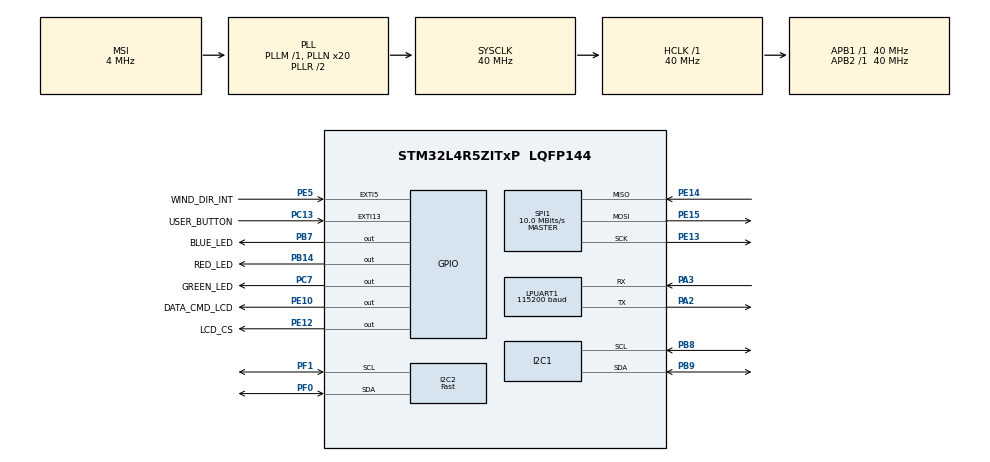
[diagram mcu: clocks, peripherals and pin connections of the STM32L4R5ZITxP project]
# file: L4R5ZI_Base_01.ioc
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I2C1.Timing=0x00909BEB
I2C2.I2C_Speed_Mode=I2C_Fast
I2C2.NoStretchMode=I2C_NOSTRETCH_ENABLE
I2C2.Speed=10
I2C2.Timing=0x7000F2FF
LPUART1.BaudRate=115200
Mcu.Family=STM32L4
Mcu.Name=STM32L4R5ZITxP
Mcu.Package=LQFP144
NVIC.EXTI15_10_IRQn=true\:0\:0\:false\:false\:true\:true\:true
NVIC.EXTI9_5_IRQn=true\:0\:0\:false\:false\:true\:true\:true
NVIC.PriorityGroup=NVIC_PRIORITYGROUP_4
PA2.Mode=Asynchronous
PA2.Signal=LPUART1_TX
PA3.Mode=Asynchronous
PA3.Signal=LPUART1_RX
PB14.GPIO_Label=RED_LED
PB14.Signal=GPIO_Output
PB7.GPIO_Label=BLUE_LED
PB7.Signal=GPIO_Output
PB8.Mode=I2C
PB8.Signal=I2C1_SCL
PB9.Mode=I2C
PB9.Signal=I2C1_SDA
PC13.GPIO_Label=USER_BUTTON
PC13.GPIO_ModeDefaultEXTI=GPIO_MODE_IT_FALLING
PC13.Signal=GPXTI13
PC7.GPIO_Label=GREEN_LED
PC7.Signal=GPIO_Output
PE10.GPIO_Label=DATA_CMD_LCD
PE10.Signal=GPIO_Output
PE12.GPIO_Label=LCD_CS
PE12.Signal=GPIO_Output
PE13.Mode=Full_Duplex_Master
PE13.Signal=SPI1_SCK
PE14.Mode=Full_Duplex_Master
PE14.Signal=SPI1_MISO
PE15.Mode=Full_Duplex_Master
PE15.Signal=SPI1_MOSI
PE5.GPIO_Label=WIND_DIR_INT
PE5.GPIO_ModeDefaultEXTI=GPIO_MODE_IT_FALLING
PE5.Signal=GPXTI5
PF0.Mode=I2C
PF0.Signal=I2C2_SDA
PF1.Mode=I2C
PF1.Signal=I2C2_SCL
ProjectManager.HeapSize=0x200
ProjectManager.StackSize=0x400
ProjectManager.TargetToolchain=TrueSTUDIO
RCC.ADCFreq_Value=16000000
RCC.AHBFreq_Value=40000000
RCC.APB1Freq_Value=40000000
RCC.APB1TimFreq_Value=40000000
RCC.APB2Freq_Value=40000000
RCC.APB2TimFreq_Value=40000000
RCC.CortexFreq_Value=40000000
RCC.HCLKFreq_Value=40000000
RCC.HSE_VALUE=8000000
RCC.HSI48_VALUE=48000000
RCC.HSI_VALUE=16000000
RCC.LSE_VALUE=32768
RCC.MSI_VALUE=4000000
RCC.PLLN=20
RCC.SYSCLKFreq_VALUE=40000000
RCC.SYSCLKSource=RCC_SYSCLKSOURCE_PLLCLK
RCC.USBFreq_Value=16000000
RCC.VCOOutputFreq_Value=80000000
SPI1.BaudRatePrescaler=SPI_BAUDRATEPRESCALER_4
SPI1.CRCCalculation=SPI_CRCCALCULATION_DISABLE
SPI1.CalculateBaudRate=10.0 MBits/s
SPI1.DataSize=SPI_DATASIZE_8BIT
SPI1.Direction=SPI_DIRECTION_2LINES
SPI1.Mode=SPI_MODE_MASTER
SPI1.VirtualType=VM_MASTER
board=custom

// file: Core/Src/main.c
/* USER CODE BEGIN Header */
/**
  ******************************************************************************
  * @file           : main.c
  * @brief          : Main program body
  ******************************************************************************
  * @attention
  *
  * <h2><center>&copy; Copyright (c) 2021 STMicroelectronics.
  * All rights reserved.</center></h2>
  *
  * This software component is licensed by ST under BSD 3-Clause license,
  * the "License"; You may not use this file except in compliance with the
  * License. You may obtain a copy of the License at:
  *                        opensource.org/licenses/BSD-3-Clause
  *
  ******************************************************************************
  */
/* USER CODE END Header */
#include "main.h"

/* USER CODE BEGIN Includes */
#include "stm32l4xx.h"
#include "lightSensor.h"
//#include "HumiditySensor.h"
//#include "PressureSensor.h"
#include "GPIO_Expander.h"
#include "Display_LCD.h"
/* USER CODE END Includes */

I2C_HandleTypeDef hi2c1;
I2C_HandleTypeDef hi2c2;

UART_HandleTypeDef hlpuart1;

SPI_HandleTypeDef hspi1;

void SystemClock_Config(void);
static void MX_GPIO_Init(void);
static void MX_LPUART1_UART_Init(void);
static void MX_SPI1_Init(void);
static void MX_I2C2_Init(void);
static void MX_I2C1_Init(void);
/* USER CODE BEGIN PFP */

volatile uint8_t ButtonActiveFlag;
volatile uint8_t WindDir_Flag;
Direction g_Disp_Direction;
/* USER CODE END PFP */

/* USER CODE BEGIN 0 */

SPI_HandleTypeDef* p_LCD_spi;

/* USER CODE END 0 */

int main(void)
{
  /* USER CODE BEGIN 1 */

	p_LCD_spi = &hspi1;
	ButtonActiveFlag = 0;
	WindDir_Flag = 0;
	g_Disp_Direction = NONE;

  /* USER CODE END 1 */

  /* MCU Configuration--------------------------------------------------------*/

  /* Reset of all peripherals, Initializes the Flash interface and the Systick. */
  HAL_Init();

  /* Configure the system clock */
  SystemClock_Config();

  /* Initialize all configured peripherals */
  MX_GPIO_Init();
  MX_LPUART1_UART_Init();
  MX_SPI1_Init();
  MX_I2C2_Init();
  MX_I2C1_Init();
  /* USER CODE BEGIN 2 */

  Init_External_GPIO();
  Init_LightSensor();

  /* USER CODE END 2 */

  /* Infinite loop */

    /* USER CODE BEGIN 3 */

  //Flash All On-board LEDs Once
  HAL_GPIO_WritePin(RED_LED_GPIO_Port, RED_LED_Pin, GPIO_PIN_SET);
  HAL_GPIO_WritePin(BLUE_LED_GPIO_Port, BLUE_LED_Pin, GPIO_PIN_SET);
  HAL_GPIO_WritePin(GREEN_LED_GPIO_Port, GREEN_LED_Pin, GPIO_PIN_SET);

  HAL_Delay(500);

  HAL_GPIO_WritePin(RED_LED_GPIO_Port, RED_LED_Pin, GPIO_PIN_RESET);
  HAL_GPIO_WritePin(BLUE_LED_GPIO_Port, BLUE_LED_Pin, GPIO_PIN_RESET);
  HAL_GPIO_WritePin(GREEN_LED_GPIO_Port, GREEN_LED_Pin, GPIO_PIN_RESET);

  uint8_t old_pinStatus = 0;
  uint8_t new_pinStatus = 0;
  uint16_t brightness = 0;

	while(1){

		//Init Display if button if pressed
		if(ButtonActiveFlag == 1){
			ButtonActiveFlag = 0;
			InitSystem_Display();
		}

		HAL_Delay(10);

		if (WindDir_Flag == 1) {
			//Disable Wind Dir ISR.
			HAL_NVIC_DisableIRQ(EXTI9_5_IRQn);
			//Reset Flag
			WindDir_Flag = 0;
			//Blink Blue LED as a visual that a change happened on the Direction Sensor
			HAL_GPIO_WritePin(BLUE_LED_GPIO_Port, BLUE_LED_Pin, GPIO_PIN_SET);
			HAL_Delay(50);
			HAL_GPIO_WritePin(BLUE_LED_GPIO_Port, BLUE_LED_Pin, GPIO_PIN_RESET);
			new_pinStatus = ReadPinStatus();

			//Clear GPIO exp. ISR
			ClearINT();

			//Enable Wind Dir ISR.
			HAL_NVIC_EnableIRQ(EXTI9_5_IRQn);
		}

		//Update wind Direction on display if a change occurred
		if ((new_pinStatus != old_pinStatus) && (new_pinStatus != 0)) {
			old_pinStatus = new_pinStatus;
			Update_Dir_Display(old_pinStatus);
		}

		//Get_Brightness(&brightness);

	}//while

  /* USER CODE END 3 */
}

void SystemClock_Config(void)
{
  RCC_OscInitTypeDef RCC_OscInitStruct = {0};
  RCC_ClkInitTypeDef RCC_ClkInitStruct = {0};

  /** Configure the main internal regulator output voltage
  */
  if (HAL_PWREx_ControlVoltageScaling(PWR_REGULATOR_VOLTAGE_SCALE1) != HAL_OK)
  {
    Error_Handler();
  }
  /** Initializes the RCC Oscillators according to the specified parameters
  * in the RCC_OscInitTypeDef structure.
  */
  RCC_OscInitStruct.OscillatorType = RCC_OSCILLATORTYPE_MSI;
  RCC_OscInitStruct.MSIState = RCC_MSI_ON;
  RCC_OscInitStruct.MSICalibrationValue = 0;
  RCC_OscInitStruct.MSIClockRange = RCC_MSIRANGE_6;
  RCC_OscInitStruct.PLL.PLLState = RCC_PLL_ON;
  RCC_OscInitStruct.PLL.PLLSource = RCC_PLLSOURCE_MSI;
  RCC_OscInitStruct.PLL.PLLM = 1;
  RCC_OscInitStruct.PLL.PLLN = 20;
  RCC_OscInitStruct.PLL.PLLP = RCC_PLLP_DIV2;
  RCC_OscInitStruct.PLL.PLLQ = RCC_PLLQ_DIV2;
  RCC_OscInitStruct.PLL.PLLR = RCC_PLLR_DIV2;
  if (HAL_RCC_OscConfig(&RCC_OscInitStruct) != HAL_OK)
  {
    Error_Handler();
  }
  /** Initializes the CPU, AHB and APB buses clocks
  */
  RCC_ClkInitStruct.ClockType = RCC_CLOCKTYPE_HCLK|RCC_CLOCKTYPE_SYSCLK
                              |RCC_CLOCKTYPE_PCLK1|RCC_CLOCKTYPE_PCLK2;
  RCC_ClkInitStruct.SYSCLKSource = RCC_SYSCLKSOURCE_PLLCLK;
  RCC_ClkInitStruct.AHBCLKDivider = RCC_SYSCLK_DIV1;
  RCC_ClkInitStruct.APB1CLKDivider = RCC_HCLK_DIV1;
  RCC_ClkInitStruct.APB2CLKDivider = RCC_HCLK_DIV1;

  if (HAL_RCC_ClockConfig(&RCC_ClkInitStruct, FLASH_LATENCY_1) != HAL_OK)
  {
    Error_Handler();
  }
}

static void MX_I2C1_Init(void)
{

  hi2c1.Instance = I2C1;
  hi2c1.Init.Timing = 0x00909BEB;
  hi2c1.Init.OwnAddress1 = 0;
  hi2c1.Init.AddressingMode = I2C_ADDRESSINGMODE_7BIT;
  hi2c1.Init.DualAddressMode = I2C_DUALADDRESS_DISABLE;
  hi2c1.Init.OwnAddress2 = 0;
  hi2c1.Init.OwnAddress2Masks = I2C_OA2_NOMASK;
  hi2c1.Init.GeneralCallMode = I2C_GENERALCALL_DISABLE;
  hi2c1.Init.NoStretchMode = I2C_NOSTRETCH_DISABLE;
  if (HAL_I2C_Init(&hi2c1) != HAL_OK)
  {
    Error_Handler();
  }
  /** Configure Analogue filter
  */
  if (HAL_I2CEx_ConfigAnalogFilter(&hi2c1, I2C_ANALOGFILTER_ENABLE) != HAL_OK)
  {
    Error_Handler();
  }
  /** Configure Digital filter
  */
  if (HAL_I2CEx_ConfigDigitalFilter(&hi2c1, 0) != HAL_OK)
  {
    Error_Handler();
  }

}

static void MX_I2C2_Init(void)
{

  hi2c2.Instance = I2C2;
  hi2c2.Init.Timing = 0x7000F2FF;
  hi2c2.Init.OwnAddress1 = 0;
  hi2c2.Init.AddressingMode = I2C_ADDRESSINGMODE_7BIT;
  hi2c2.Init.DualAddressMode = I2C_DUALADDRESS_DISABLE;
  hi2c2.Init.OwnAddress2 = 0;
  hi2c2.Init.OwnAddress2Masks = I2C_OA2_NOMASK;
  hi2c2.Init.GeneralCallMode = I2C_GENERALCALL_DISABLE;
  hi2c2.Init.NoStretchMode = I2C_NOSTRETCH_ENABLE;
  if (HAL_I2C_Init(&hi2c2) != HAL_OK)
  {
    Error_Handler();
  }
  /** Configure Analogue filter
  */
  if (HAL_I2CEx_ConfigAnalogFilter(&hi2c2, I2C_ANALOGFILTER_ENABLE) != HAL_OK)
  {
    Error_Handler();
  }
  /** Configure Digital filter
  */
  if (HAL_I2CEx_ConfigDigitalFilter(&hi2c2, 0) != HAL_OK)
  {
    Error_Handler();
  }

}

static void MX_LPUART1_UART_Init(void)
{

  hlpuart1.Instance = LPUART1;
  hlpuart1.Init.BaudRate = 115200;
  hlpuart1.Init.WordLength = UART_WORDLENGTH_7B;
  hlpuart1.Init.StopBits = UART_STOPBITS_1;
  hlpuart1.Init.Parity = UART_PARITY_NONE;
  hlpuart1.Init.Mode = UART_MODE_TX_RX;
  hlpuart1.Init.HwFlowCtl = UART_HWCONTROL_NONE;
  hlpuart1.Init.OneBitSampling = UART_ONE_BIT_SAMPLE_DISABLE;
  hlpuart1.Init.ClockPrescaler = UART_PRESCALER_DIV1;
  hlpuart1.AdvancedInit.AdvFeatureInit = UART_ADVFEATURE_NO_INIT;
  hlpuart1.FifoMode = UART_FIFOMODE_DISABLE;
  if (HAL_UART_Init(&hlpuart1) != HAL_OK)
  {
    Error_Handler();
  }
  if (HAL_UARTEx_SetTxFifoThreshold(&hlpuart1, UART_TXFIFO_THRESHOLD_1_8) != HAL_OK)
  {
    Error_Handler();
  }
  if (HAL_UARTEx_SetRxFifoThreshold(&hlpuart1, UART_RXFIFO_THRESHOLD_1_8) != HAL_OK)
  {
    Error_Handler();
  }
  if (HAL_UARTEx_DisableFifoMode(&hlpuart1) != HAL_OK)
  {
    Error_Handler();
  }

}

static void MX_SPI1_Init(void)
{

  /* SPI1 parameter configuration*/
  hspi1.Instance = SPI1;
  hspi1.Init.Mode = SPI_MODE_MASTER;
  hspi1.Init.Direction = SPI_DIRECTION_2LINES;
  hspi1.Init.DataSize = SPI_DATASIZE_8BIT;
  hspi1.Init.CLKPolarity = SPI_POLARITY_LOW;
  hspi1.Init.CLKPhase = SPI_PHASE_1EDGE;
  hspi1.Init.NSS = SPI_NSS_SOFT;
  hspi1.Init.BaudRatePrescaler = SPI_BAUDRATEPRESCALER_4;
  hspi1.Init.FirstBit = SPI_FIRSTBIT_MSB;
  hspi1.Init.TIMode = SPI_TIMODE_DISABLE;
  hspi1.Init.CRCCalculation = SPI_CRCCALCULATION_DISABLE;
  hspi1.Init.CRCPolynomial = 7;
  hspi1.Init.CRCLength = SPI_CRC_LENGTH_DATASIZE;
  hspi1.Init.NSSPMode = SPI_NSS_PULSE_ENABLE;
  if (HAL_SPI_Init(&hspi1) != HAL_OK)
  {
    Error_Handler();
  }

}

static void MX_GPIO_Init(void)
{
  GPIO_InitTypeDef GPIO_InitStruct = {0};

  /* GPIO Ports Clock Enable */
  __HAL_RCC_GPIOE_CLK_ENABLE();
  __HAL_RCC_GPIOC_CLK_ENABLE();
  __HAL_RCC_GPIOF_CLK_ENABLE();
  __HAL_RCC_GPIOA_CLK_ENABLE();
  __HAL_RCC_GPIOB_CLK_ENABLE();

  /*Configure GPIO pin Output Level */
  HAL_GPIO_WritePin(GPIOE, DATA_CMD_LCD_Pin|LCD_CS_Pin, GPIO_PIN_RESET);

  /*Configure GPIO pin Output Level */
  HAL_GPIO_WritePin(GPIOB, RED_LED_Pin|BLUE_LED_Pin, GPIO_PIN_RESET);

  /*Configure GPIO pin Output Level */
  HAL_GPIO_WritePin(GREEN_LED_GPIO_Port, GREEN_LED_Pin, GPIO_PIN_RESET);

  /*Configure GPIO pin : WIND_DIR_INT_Pin */
  GPIO_InitStruct.Pin = WIND_DIR_INT_Pin;
  GPIO_InitStruct.Mode = GPIO_MODE_IT_FALLING;
  GPIO_InitStruct.Pull = GPIO_NOPULL;
  HAL_GPIO_Init(WIND_DIR_INT_GPIO_Port, &GPIO_InitStruct);

  /*Configure GPIO pin : USER_BUTTON_Pin */
  GPIO_InitStruct.Pin = USER_BUTTON_Pin;
  GPIO_InitStruct.Mode = GPIO_MODE_IT_FALLING;
  GPIO_InitStruct.Pull = GPIO_NOPULL;
  HAL_GPIO_Init(USER_BUTTON_GPIO_Port, &GPIO_InitStruct);

  /*Configure GPIO pins : DATA_CMD_LCD_Pin LCD_CS_Pin */
  GPIO_InitStruct.Pin = DATA_CMD_LCD_Pin|LCD_CS_Pin;
  GPIO_InitStruct.Mode = GPIO_MODE_OUTPUT_PP;
  GPIO_InitStruct.Pull = GPIO_NOPULL;
  GPIO_InitStruct.Speed = GPIO_SPEED_FREQ_LOW;
  HAL_GPIO_Init(GPIOE, &GPIO_InitStruct);

  /*Configure GPIO pins : RED_LED_Pin BLUE_LED_Pin */
  GPIO_InitStruct.Pin = RED_LED_Pin|BLUE_LED_Pin;
  GPIO_InitStruct.Mode = GPIO_MODE_OUTPUT_PP;
  GPIO_InitStruct.Pull = GPIO_NOPULL;
  GPIO_InitStruct.Speed = GPIO_SPEED_FREQ_LOW;
  HAL_GPIO_Init(GPIOB, &GPIO_InitStruct);

  /*Configure GPIO pin : GREEN_LED_Pin */
  GPIO_InitStruct.Pin = GREEN_LED_Pin;
  GPIO_InitStruct.Mode = GPIO_MODE_OUTPUT_PP;
  GPIO_InitStruct.Pull = GPIO_NOPULL;
  GPIO_InitStruct.Speed = GPIO_SPEED_FREQ_LOW;
  HAL_GPIO_Init(GREEN_LED_GPIO_Port, &GPIO_InitStruct);

  /* EXTI interrupt init*/
  HAL_NVIC_SetPriority(EXTI9_5_IRQn, 0, 0);
  HAL_NVIC_EnableIRQ(EXTI9_5_IRQn);

  HAL_NVIC_SetPriority(EXTI15_10_IRQn, 0, 0);
  HAL_NVIC_EnableIRQ(EXTI15_10_IRQn);

}

void Error_Handler(void)
{
  __disable_irq();
  while (1)
  {
  }
}

/************************ (C) COPYRIGHT STMicroelectronics *****END OF FILE****/
